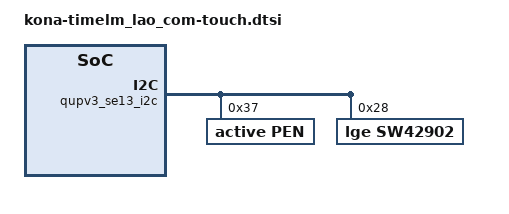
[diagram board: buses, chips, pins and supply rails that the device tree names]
// SPDX-License-Identifier: GPL-2.0-only
/*
 * Copyright (c) 2018-2019, The Linux Foundation. All rights reserved.
 */

#include "../kona-timelm_common/kona-timelm_common-touch.dtsi"

&qupv3_se13_i2c {
	#address-cells = <1>;
	#size-cells = <0>;

	status = "ok";

	sw42000@28 {
		status = "disabled";
		pinctrl-names = "touch_pin_active", "touch_pin_sleep";
		pinctrl-0 = <&ts_reset_active &ts_int_active>;
		pinctrl-1 = <&ts_reset_suspend &ts_int_suspend>;
	};

	/* Temp Slave Address */
	active@37 {
		compatible = "active,pen";
		status = "ok";
		reg = <0x37>;
	};

	sw42902 {
		compatible = "lge,sw42902";
		reg = <0x28>;
		status = "ok";
	};
};
